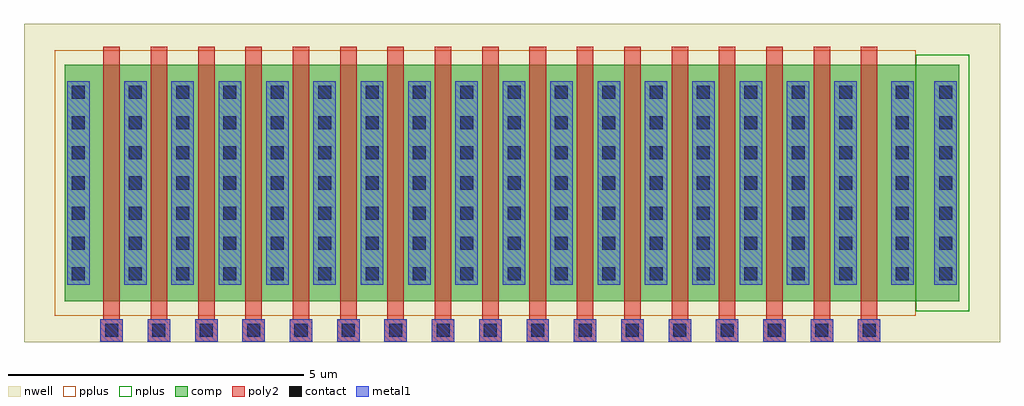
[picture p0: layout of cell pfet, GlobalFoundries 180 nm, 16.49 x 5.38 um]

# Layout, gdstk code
import gdstk
lib = gdstk.Library(unit=1e-6, precision=5e-09)
def R(c, l, rs):  # rectangles x0, y0, x1, y1
    for r in rs: c.add(gdstk.rectangle(r[:2], r[2:], *l))
def A(c, l, x, y, w, h, nx, ny, dx, dy):  # array of equal rectangles
    R(c, l, [(x+i*dx, y+j*dy, x+i*dx+w, y+j*dy+h) for i in range(nx) for j in range(ny)])
nwell = (21, 0)
comp = (22, 0)
poly2 = (30, 0)
pplus = (31, 0)
nplus = (32, 0)
contact = (33, 0)
metal1 = (34, 0)

pfet = lib.new_cell('pfet')
R(pfet, nwell, [(-1.15,-0.69,15.34,4.69)])
R(pfet, comp, [(-0.46,0,0,4), (0,0,13.46,4), (13.46,0,13.92,4), (13.92,0,14.65,4)])
A(pfet, poly2, 0.14, -0.68, 0.38, 0.38, 17, 1, 0.8, 0)
A(pfet, poly2, 0.19, -0.3, 0.28, 4.6, 17, 1, 0.8, 0)
R(pfet, pplus, [(-0.63,-0.24,13.92,4.24)])
R(pfet, nplus, [(13.92,-0.17,14.82,4.17)])
A(pfet, contact, 0.22, -0.6, 0.22, 0.22, 17, 1, 0.8, 0)
A(pfet, contact, -0.34, 0.36, 0.22, 0.22, 1, 7, 0, 0.51)
A(pfet, contact, 0.62, 0.36, 0.22, 0.22, 16, 7, 0.8, 0.51)
A(pfet, contact, 13.58, 0.36, 0.22, 0.22, 1, 7, 0, 0.51)
A(pfet, contact, 14.31, 0.36, 0.22, 0.22, 1, 7, 0, 0.51)
A(pfet, metal1, 0.14, -0.68, 0.38, 0.38, 17, 1, 0.8, 0)
A(pfet, metal1, 0.54, 0.28, 0.38, 3.44, 16, 1, 0.8, 0)
R(pfet, metal1, [(-0.42,0.28,-0.04,3.72), (13.5,0.28,13.88,3.72), (14.23,0.28,14.61,3.72)])

lib.write_gds('pfet.gds')
